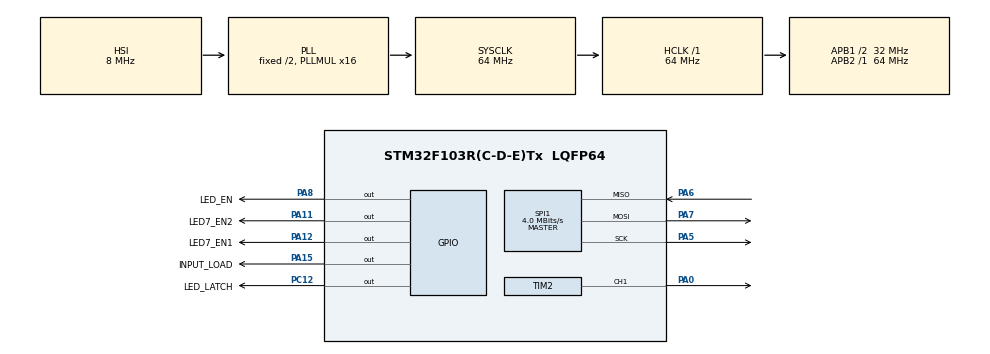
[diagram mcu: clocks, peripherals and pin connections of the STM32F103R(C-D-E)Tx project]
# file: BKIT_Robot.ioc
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Mcu.Family=STM32F1
Mcu.Name=STM32F103R(C-D-E)Tx
Mcu.Package=LQFP64
NVIC.PriorityGroup=NVIC_PRIORITYGROUP_4
NVIC.TIM2_IRQn=true\:0\:0\:false\:false\:true\:true\:true\:true
NVIC.TIM3_IRQn=true\:0\:0\:false\:false\:true\:true\:true\:true
PA0-WKUP.Signal=S_TIM2_CH1_ETR
PA11.GPIO_Label=LED7_EN2
PA11.Signal=GPIO_Output
PA12.GPIO_Label=LED7_EN1
PA12.Signal=GPIO_Output
PA13.Mode=Serial_Wire
PA13.Signal=SYS_JTMS-SWDIO
PA14.Mode=Serial_Wire
PA14.Signal=SYS_JTCK-SWCLK
PA15.GPIO_Label=INPUT_LOAD
PA15.Signal=GPIO_Output
PA5.Mode=Full_Duplex_Master
PA5.Signal=SPI1_SCK
PA6.Mode=Full_Duplex_Master
PA6.Signal=SPI1_MISO
PA7.Mode=Full_Duplex_Master
PA7.Signal=SPI1_MOSI
PA8.GPIO_Label=LED_EN
PA8.Signal=GPIO_Output
PC12.GPIO_Label=LED_LATCH
PC12.Signal=GPIO_Output
ProjectManager.HeapSize=0x200
ProjectManager.StackSize=0x400
ProjectManager.TargetToolchain=STM32CubeIDE
RCC.AHBFreq_Value=64000000
RCC.APB1CLKDivider=RCC_HCLK_DIV2
RCC.APB1Freq_Value=32000000
RCC.APB1TimFreq_Value=64000000
RCC.APB2Freq_Value=64000000
RCC.APB2TimFreq_Value=64000000
RCC.HCLKFreq_Value=64000000
RCC.PLLMUL=RCC_PLL_MUL16
RCC.SYSCLKFreq_VALUE=64000000
RCC.SYSCLKSource=RCC_SYSCLKSOURCE_PLLCLK
RCC.USBFreq_Value=64000000
SH.S_TIM2_CH1_ETR.0=TIM2_CH1,PWM Generation1 CH1
SPI1.BaudRatePrescaler=SPI_BAUDRATEPRESCALER_16
SPI1.CalculateBaudRate=4.0 MBits/s
SPI1.Direction=SPI_DIRECTION_2LINES
SPI1.Mode=SPI_MODE_MASTER
SPI1.VirtualType=VM_MASTER
TIM2.Channel-PWM\ Generation1\ CH1=TIM_CHANNEL_1
TIM2.Period=100
TIM2.Prescaler=640
TIM2.Pulse-PWM\ Generation1\ CH1=28
TIM3.Period=7
TIM3.Prescaler=7999
VP_TIM2_VS_ClockSourceINT.Mode=Internal
VP_TIM3_VS_ClockSourceINT.Mode=Internal
board=custom

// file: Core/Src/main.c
/* USER CODE BEGIN Header */
/**
  ******************************************************************************
  * @file           : main.c
  * @brief          : Main program body
  ******************************************************************************
  * @attention
  *
  * Copyright (c) 2025 STMicroelectronics.
  * All rights reserved.
  *
  * This software is licensed under terms that can be found in the LICENSE file
  * in the root directory of this software component.
  * If no LICENSE file comes with this software, it is provided AS-IS.
  *
  ******************************************************************************
  */
/* USER CODE END Header */
#include "main.h"
#include "spi.h"
#include "tim.h"
#include "gpio.h"

/* USER CODE BEGIN Includes */
#include "software_timer.h"
#include "led_control.h"
#include "buzzer.h"
/* USER CODE END Includes */

void SystemClock_Config(void);

int main(void)
{

  /* MCU Configuration--------------------------------------------------------*/

  /* Reset of all peripherals, Initializes the Flash interface and the Systick. */
  HAL_Init();

  /* Configure the system clock */
  SystemClock_Config();

  /* Initialize all configured peripherals */
  MX_GPIO_Init();
  MX_SPI1_Init();
  MX_TIM2_Init();
  MX_TIM3_Init();
  /* USER CODE BEGIN 2 */
  HAL_TIM_Base_Start_IT(&htim3);
  /* USER CODE END 2 */

  /* Infinite loop */
  /* USER CODE BEGIN WHILE */
  LED_init();
  uint8_t count = 0;
  setTimer(0, 1000);

  uint8_t arr_data = 0b11111110;
  uint8_t dir = 1;
  setTimer(2, 100);
  while (1)
  {
    /* USER CODE END WHILE */

    /* USER CODE BEGIN 3 */
	  LED_fsm_run();
	  BUZZER_fsm_run();
	  if(getFlag(0) == 1){
		  setTimer(0, 1000);
		  count++;
		  set_seg_12(count);
	  };

	  if(getFlag(2) == 1){
		  setTimer(2, 300);
		  set_led_array(arr_data);
		  if(dir){
			  arr_data = (arr_data << 1) + 1;
			  if(arr_data == 0b01111111) dir = 0;
		  }else{
			  arr_data = (arr_data >> 1) + 0b10000000;
			  if(arr_data == 0b11111110) dir = 1;
		  };
		  BEEP;
	  }

  }
  /* USER CODE END 3 */
}

void SystemClock_Config(void)
{
  RCC_OscInitTypeDef RCC_OscInitStruct = {0};
  RCC_ClkInitTypeDef RCC_ClkInitStruct = {0};

  /** Initializes the RCC Oscillators according to the specified parameters
  * in the RCC_OscInitTypeDef structure.
  */
  RCC_OscInitStruct.OscillatorType = RCC_OSCILLATORTYPE_HSI;
  RCC_OscInitStruct.HSIState = RCC_HSI_ON;
  RCC_OscInitStruct.HSICalibrationValue = RCC_HSICALIBRATION_DEFAULT;
  RCC_OscInitStruct.PLL.PLLState = RCC_PLL_ON;
  RCC_OscInitStruct.PLL.PLLSource = RCC_PLLSOURCE_HSI_DIV2;
  RCC_OscInitStruct.PLL.PLLMUL = RCC_PLL_MUL16;
  if (HAL_RCC_OscConfig(&RCC_OscInitStruct) != HAL_OK)
  {
    Error_Handler();
  }

  /** Initializes the CPU, AHB and APB buses clocks
  */
  RCC_ClkInitStruct.ClockType = RCC_CLOCKTYPE_HCLK|RCC_CLOCKTYPE_SYSCLK
                              |RCC_CLOCKTYPE_PCLK1|RCC_CLOCKTYPE_PCLK2;
  RCC_ClkInitStruct.SYSCLKSource = RCC_SYSCLKSOURCE_PLLCLK;
  RCC_ClkInitStruct.AHBCLKDivider = RCC_SYSCLK_DIV1;
  RCC_ClkInitStruct.APB1CLKDivider = RCC_HCLK_DIV2;
  RCC_ClkInitStruct.APB2CLKDivider = RCC_HCLK_DIV1;

  if (HAL_RCC_ClockConfig(&RCC_ClkInitStruct, FLASH_LATENCY_2) != HAL_OK)
  {
    Error_Handler();
  }
}

void Error_Handler(void)
{
  __disable_irq();
  while (1)
  {
  }
}
